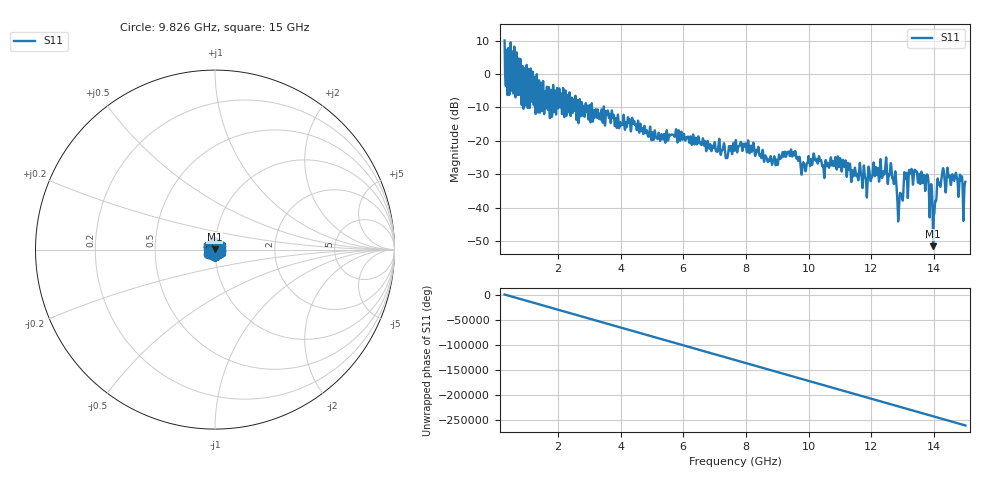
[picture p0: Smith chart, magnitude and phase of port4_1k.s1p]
# GHZ S RI R 50.0
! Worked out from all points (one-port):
!   12801 points, 300 MHz to 15 GHz, reference 50 ohm
!   lowest |S11| = -51.5 dB at 13.97 GHz (marker M1), VSWR 1.01, Z = 49.9 + j0.255 ohm
!   |S11| at or under -10 dB: 3.014 GHz to 3.072 GHz (58.81 MHz wide, 1.93 % of centre); 3.089 GHz to 3.461 GHz (372.3 MHz wide, 11.4 % of centre); 3.469 GHz to end of sweep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
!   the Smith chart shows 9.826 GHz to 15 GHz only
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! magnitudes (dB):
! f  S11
! 300 MHz  10.0
! 395.3 MHz  -6.1
! 745.6 MHz  1.8
! 902.9 MHz  -10.4
! 1.193 GHz  -1.0
! 1.353 GHz  -10.2
! 2.138 GHz  -11.7
! 3.975 GHz  -14.8
! 5.812 GHz  -20.4
! 7.388 GHz  -24.9
! 7.65 GHz  -22.1
! 8.888 GHz  -25.3
! 9.488 GHz  -24.2
! 9.829 GHz  -26.5
! 10.2 GHz  -25.6
! 11.32 GHz  -27.3
! 11.8 GHz  -30.9
! 12.1 GHz  -30.1
! 12.62 GHz  -26.7
! 12.89 GHz  -37.8
! 13.16 GHz  -37.1
! 13.75 GHz  -31.9
! 13.97 GHz  -51.5
! 14.02 GHz  -40.0
! 14.11 GHz  -31.8
! 14.27 GHz  -29.0
! 14.65 GHz  -31.6
! 15 GHz  -32.3
